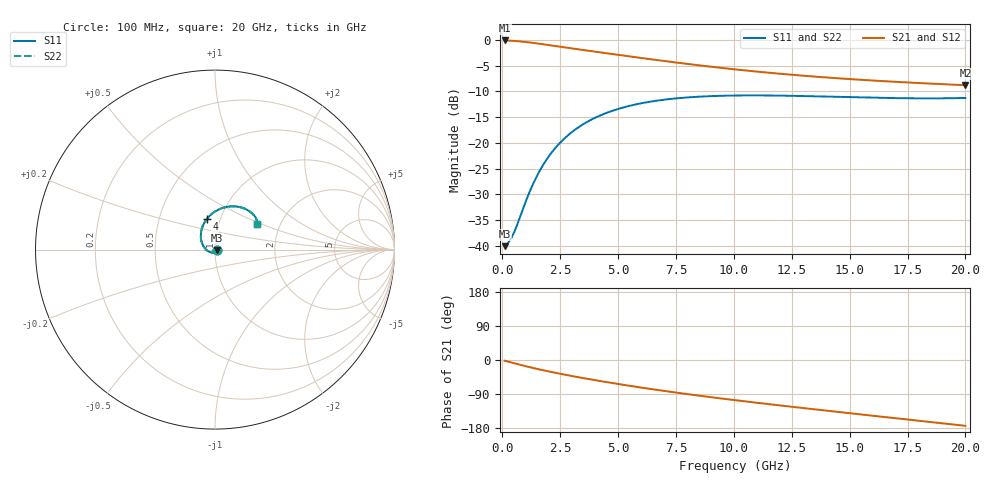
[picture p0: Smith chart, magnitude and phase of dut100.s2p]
! Touchstone file exported from HFSS 2024.1.0
!  File:  C:/UserFiles/LocalFiles/RDL_TSV_Batchsim/temp_RDL_TSV_100_1779419690.aedt
!  Generated:  11:29:13 AM May 22, 2026
!  Design:  RDL_TSV
!  Project:  temp_RDL_TSV_100_1779419690
!  Setup:  Setup1
!  Solution:  Sweep
! Variables:
!  dtsv = 9.77um
!  hbump = 3um
!  htsv = 95.12um
!  ldown = 353.49um
!  lrdl = 281.28um
!  p = 40
!  p1 = 58.02um
!  rhole = 10um
!  subl = 2185.59um
!  t = 450um
!  tdown = 3.46um
!  trdl = 3.15um
!  viad = 10um
!  wdown = 22.83um
!  wrdl = 28.93um
!  xbump = 18um
# GHz S MA R 50.000000
! Terminal data exported
! Port[1] = TM1_1_T1
! Port[2] = TM1_4_T1
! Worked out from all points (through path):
!   200 points, 100 MHz to 20 GHz, reference 50 ohm
!   highest |S21| = -0.10 dB at 100 MHz (marker M1); lowest = -8.8 dB at 20 GHz (marker M2)
!   group delay of S21, straight-line fit = 22.5 ps
!   lowest |S11| = -40.1 dB at 100 MHz (marker M3), VSWR 1.02, Z = 51 - j0.264 ohm
!   |S11| at or under -10 dB: start of sweep to end of sweep
!   |S22| runs from -40.1 to -10.8 dB; largest |S21 - S12| = 1.1e-14
!   S11 on the Smith chart (normalised r, x): 100 MHz: 1.02, -0.01; 4 GHz: 0.86, +0.30; 20 GHz: 1.52, +0.47
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0.1  0.0099 -15.2  0.9886 -1.7  0.9886 -1.7  0.00989 -15.3
! Gamma 0 0 0 0
! Port Impedance 50 0 50 0
0.3  0.01102 -47.7  0.9848 -5.1  0.9848 -5.1  0.01105 -48.1
0.5  0.01333 -80.8  0.9788 -8.3  0.9788 -8.3  0.01342 -81.1
1.2  0.03421 -158.9  0.9444 -19.2  0.9444 -19.2  0.03444 -158.7
1.5  0.0478 -178.0  0.9256 -23.5  0.9256 -23.5  0.04806 -177.8
1.8  0.06289 167.1  0.9058 -27.5  0.9058 -27.5  0.06317 167.3
2.2  0.08421 151.1  0.8793 -32.7  0.8793 -32.7  0.08451 151.3
2.6  0.1058 138.1  0.8533 -37.5  0.8533 -37.5  0.1061 138.2
3  0.127 127.1  0.8282 -42.2  0.8282 -42.2  0.1273 127.3
3.5  0.152 115.5  0.7982 -47.8  0.7982 -47.8  0.1523 115.6
4  0.1748 105.6  0.7697 -53.1  0.7697 -53.1  0.1752 105.7
4.6  0.1991 95.3  0.7372 -59.3  0.7372 -59.3  0.1995 95.4
5.3  0.223 85.2  0.7014 -66.2  0.7014 -66.2  0.2235 85.3
6.8  0.2593 68.3  0.6322 -80.0  0.6322 -80.0  0.2597 68.4
8.4  0.2801 55.2  0.5699 -93.3  0.5699 -93.3  0.2805 55.3
10.1  0.2884 45.3  0.5161 -106.4  0.5161 -106.4  0.2888 45.3
11.7  0.2882 38.6  0.4758 -117.9  0.4758 -117.9  0.2885 38.7
13.4  0.2836 34.0  0.4418 -129.6  0.4418 -129.6  0.2838 34.0
15  0.2777 31.4  0.4165 -140.4  0.4165 -140.4  0.2779 31.5
16.7  0.2726 30.4  0.3948 -151.7  0.3948 -151.7  0.2727 30.5
18.3  0.2706 30.5  0.3782 -162.4  0.3782 -162.4  0.2707 30.6
20  0.2729 31.4  0.3634 -173.7  0.3634 -173.7  0.2731 31.5
